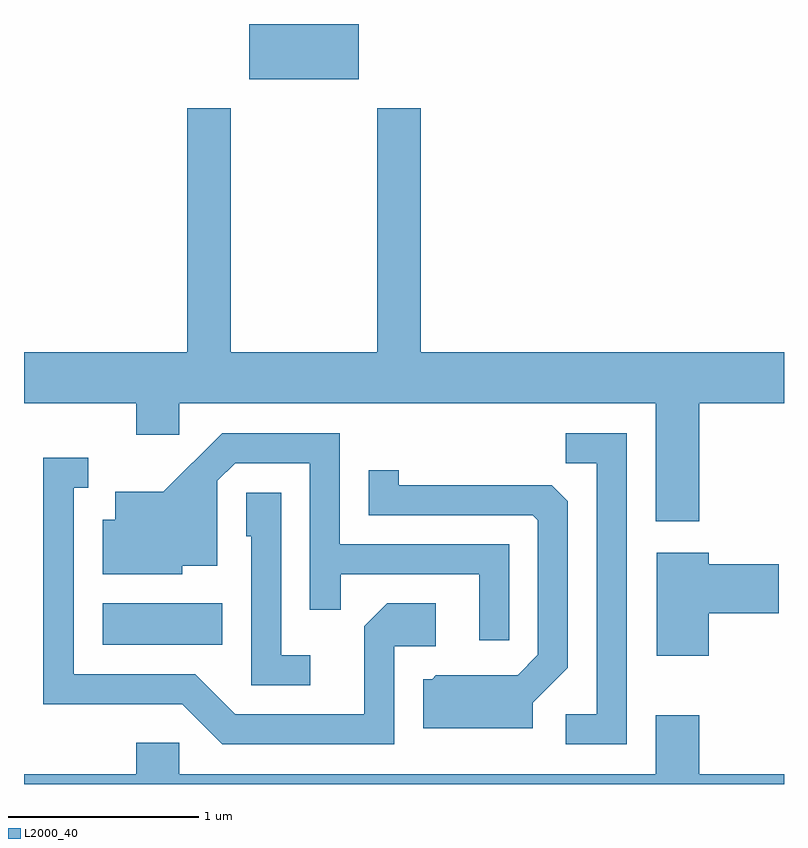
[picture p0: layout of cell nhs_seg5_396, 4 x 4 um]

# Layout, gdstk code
import gdstk
lib = gdstk.Library(unit=1e-6, precision=1e-09)
def R(c, l, rs):  # rectangles x0, y0, x1, y1
    for r in rs: c.add(gdstk.rectangle(r[:2], r[2:], *l))
def P(c, l, *ps):  # polygons
    for p in ps: c.add(gdstk.Polygon(p, *l))
L2000_40 = (2000, 40)

nhs_seg5_396 = lib.new_cell('nhs_seg5_396')
R(nhs_seg5_396, L2000_40, [(196.026,1508.806,196.654,1509.024), (196.796,1511.781,197.374,1512.072)])
P(nhs_seg5_396, L2000_40, [(199.164,1510.076),(199.611,1510.076),(199.611,1510.344),(197.699,1510.344),(197.699,1511.629),(197.471,1511.629),(197.471,1510.344),(196.699,1510.344),(196.699,1511.629),(196.471,1511.629),(196.471,1510.344),(195.611,1510.344),(195.611,1510.076),(196.201,1510.076),(196.201,1509.911),(196.429,1509.911),(196.429,1510.076),(198.936,1510.076),(198.936,1509.456),(199.164,1509.456)],
  [(198.164,1509.334),(197.274,1509.334),(197.274,1509.919),(196.654,1509.919),(196.344,1509.609),(196.091,1509.609),(196.091,1509.464),(196.026,1509.464),(196.026,1509.176),(196.444,1509.176),(196.444,1509.221),(196.629,1509.221),(196.629,1509.669),(196.722,1509.761),(197.116,1509.761),(197.116,1508.988),(197.279,1508.988),(197.279,1509.176),(198.006,1509.176),(198.006,1508.828),(198.164,1508.828)],
  [(198.784,1509.919),(198.463,1509.919),(198.463,1509.761),(198.626,1509.761),(198.626,1508.439),(198.463,1508.439),(198.463,1508.281),(198.784,1508.281)],
  [(197.559,1508.796),(197.779,1508.796),(197.779,1509.024),(197.524,1509.024),(197.401,1508.902),(197.401,1508.439),(196.722,1508.439),(196.512,1508.649),(195.874,1508.649),(195.874,1509.631),(195.948,1509.631),(195.948,1509.789),(195.711,1509.789),(195.711,1508.491),(196.444,1508.491),(196.654,1508.281),(197.559,1508.281)],
  [(198.289,1508.499),(198.474,1508.684),(198.474,1509.559),(198.389,1509.644),(197.584,1509.644),(197.584,1509.723),(197.426,1509.723),(197.426,1509.486),(198.289,1509.486),(198.316,1509.459),(198.316,1508.752),(198.209,1508.644),(197.779,1508.644),(197.759,1508.624),(197.711,1508.624),(197.711,1508.366),(198.289,1508.366)],
  [(197.118,1508.749),(196.964,1508.749),(196.964,1509.604),(196.781,1509.604),(196.781,1509.376),(196.806,1509.376),(196.806,1508.591),(197.118,1508.591)],
  [(199.214,1508.971),(199.584,1508.971),(199.584,1509.229),(199.214,1509.229),(199.214,1509.289),(198.941,1509.289),(198.941,1508.746),(199.214,1508.746)],
  [(199.611,1508.124),(199.164,1508.124),(199.164,1508.434),(198.936,1508.434),(198.936,1508.124),(196.429,1508.124),(196.429,1508.289),(196.201,1508.289),(196.201,1508.124),(195.611,1508.124),(195.611,1508.072),(199.611,1508.072)])

lib.write_gds('nhs_seg5_396.gds')
